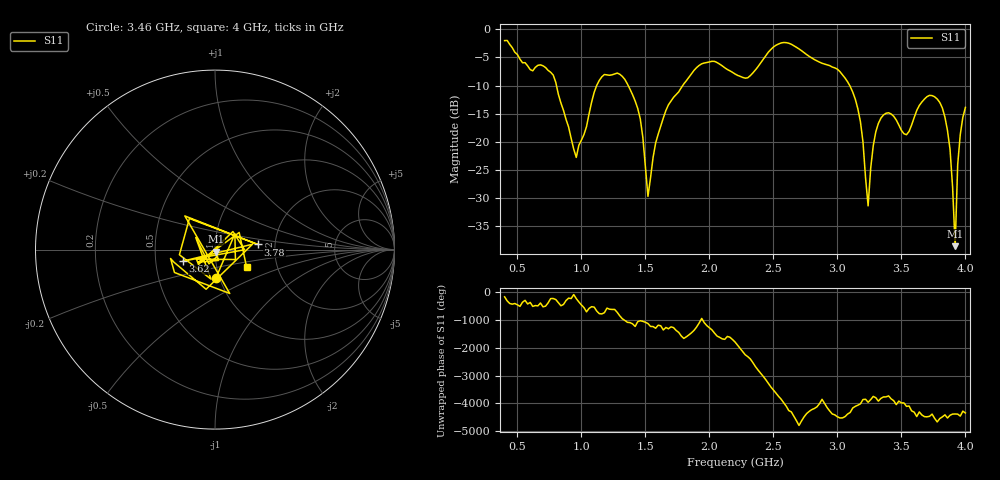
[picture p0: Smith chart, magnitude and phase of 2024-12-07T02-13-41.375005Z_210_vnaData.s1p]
!Created with skrf (http://scikit-rf.org).
# Hz S RI R 50.0
!freq ReS11 ImS11
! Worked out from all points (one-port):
!   181 points, 400 MHz to 4 GHz, reference 50 ohm
!   lowest |S11| = -38.5 dB at 3.92 GHz (marker M1), VSWR 1.02, Z = 50.5 - j1.1 ohm
!   |S11| at or under -10 dB: 805.4 MHz to 1.119 GHz (313.6 MHz wide, 32.6 % of centre); 1.366 GHz to 1.791 GHz (425.1 MHz wide, 26.9 % of centre); 3.097 GHz to end of sweep
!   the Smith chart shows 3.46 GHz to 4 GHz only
!   S11 on the Smith chart (normalised r, x): 3.46 GHz: 0.96, -0.31; 3.62 GHz: 0.69, -0.09; 3.78 GHz: 1.62, +0.10; 4 GHz: 1.39, -0.29
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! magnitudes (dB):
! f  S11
! 400 MHz  -2.0
! 780 MHz  -8.1
! 860 MHz  -14.4
! 960 MHz  -22.7
! 1.14 GHz  -9.1
! 1.3 GHz  -8.0
! 1.46 GHz  -15.9
! 1.52 GHz  -29.7
! 1.6 GHz  -18.6
! 1.76 GHz  -11.1
! 1.94 GHz  -6.1
! 2.2 GHz  -7.9
! 2.66 GHz  -2.9
! 3.1 GHz  -10.1
! 3.18 GHz  -16.4
! 3.24 GHz  -31.3
! 3.28 GHz  -20.7
! 3.32 GHz  -16.7
! 3.46 GHz  -16.1
! 3.56 GHz  -18.1
! 3.62 GHz  -14.4
! 3.78 GHz  -12.4
! 3.84 GHz  -15.6
! 3.88 GHz  -21.3
! 3.92 GHz  -38.5
! 3.94 GHz  -24.0
! 3.96 GHz  -18.7
! 4 GHz  -13.9
